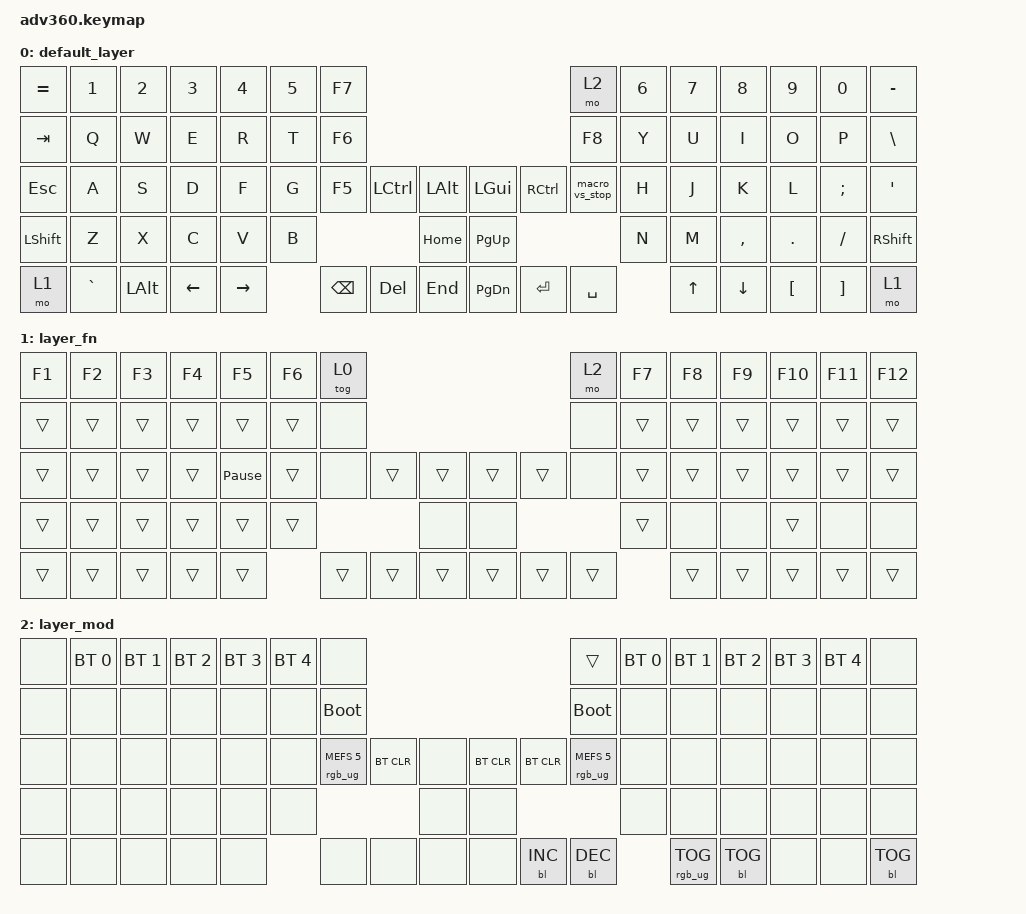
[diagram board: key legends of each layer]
/*
 * Copyright (c) 2020 The ZMK Contributors
 *
 * SPDX-License-Identifier: MIT
 */
/* THIS FILE WAS GENERATED!
 *
 * This file was generated automatically. You may or may not want to
 * edit it directly.
 */

#include <behaviors.dtsi>
#include <dt-bindings/zmk/backlight.h>
#include <dt-bindings/zmk/bt.h>
#include <dt-bindings/zmk/keys.h>
#include <dt-bindings/zmk/rgb.h>

/ {
    behaviors {
        #include "macros.dtsi"
    #include "version.dtsi"

        hm: homerow_mods {
            compatible = "zmk,behavior-hold-tap";
            label = "HOMEROW_MODS";
            #binding-cells = <2>;
            tapping-term-ms = <200>;
            quick_tap_ms = <175>;
            flavor = "tap-preferred";
            bindings = <&kp>, <&kp>;
        };
    };

    keymap {
        compatible = "zmk,keymap";

        default_layer {
            bindings = <
&kp EQUAL  &kp N1     &kp N2        &kp N3          &kp N4           &kp N5  &kp F7                                                             &mo 2           &kp N6  &kp N7        &kp N8          &kp N9            &kp N0             &kp MINUS
&kp TAB    &kp Q      &kp W         &kp E           &kp R            &kp T   &kp F6                                                             &kp F8          &kp Y   &kp U         &kp I           &kp O             &kp P              &kp BSLH
&kp ESC    &kp A      &kp S         &kp D           &kp F            &kp G   &kp F5         &kp LCTRL   &kp LALT      &kp LGUI       &kp RCTRL  &macro_vs_stop  &kp H   &kp J         &kp K           &kp L             &kp SEMI           &kp SQT
&kp LSHFT  &kp Z      &kp X         &kp C           &kp V            &kp B                              &kp HOME      &kp PAGE_UP                               &kp N   &kp M         &kp COMMA       &kp PERIOD        &kp SLASH          &kp RIGHT_SHIFT
&mo 1      &kp GRAVE  &kp LEFT_ALT  &kp LEFT_ARROW  &kp RIGHT_ARROW          &kp BACKSPACE  &kp DELETE  &kp END       &kp PAGE_DOWN  &kp ENTER  &kp SPACE               &kp UP_ARROW  &kp DOWN_ARROW  &kp LEFT_BRACKET  &kp RIGHT_BRACKET  &mo 1
            >;
        };

        layer_fn {
            bindings = <
&kp F1  &kp F2  &kp F3  &kp F4  &kp F5           &kp F6  &tog 0                                      &mo 2   &kp F7  &kp F8  &kp F9  &kp F10  &kp F11  &kp F12
&trans  &trans  &trans  &trans  &trans           &trans  &none                                       &none   &trans  &trans  &trans  &trans   &trans   &trans
&trans  &trans  &trans  &trans  &kp PAUSE_BREAK  &trans  &none   &trans  &trans      &trans  &trans  &none   &trans  &trans  &trans  &trans   &trans   &trans
&trans  &trans  &trans  &trans  &trans           &trans                  &none       &none                   &trans  &none   &none   &trans   &none    &none
&trans  &trans  &trans  &trans  &trans                   &trans  &trans  &trans      &trans  &trans  &trans          &trans  &trans  &trans   &trans   &trans
            >;
        };

        layer_mod {
            bindings = <
&none  &bt BT_SEL 0  &bt BT_SEL 1  &bt BT_SEL 2  &bt BT_SEL 3  &bt BT_SEL 4  &none                                                                  &trans                  &bt BT_SEL 0  &bt BT_SEL 1     &bt BT_SEL 2  &bt BT_SEL 3  &bt BT_SEL 4  &none
&none  &none         &none         &none         &none         &none         &bootloader                                                            &bootloader             &none         &none            &none         &none         &none         &none
&none  &none         &none         &none         &none         &none         &rgb_ug RGB_MEFS_CMD 5  &bt BT_CLR  &none      &bt BT_CLR  &bt BT_CLR  &rgb_ug RGB_MEFS_CMD 5  &none         &none            &none         &none         &none         &none
&none  &none         &none         &none         &none         &none                                             &none      &none                                           &none         &none            &none         &none         &none         &none
&none  &none         &none         &none         &none                       &none                   &none       &none      &none       &bl BL_INC  &bl BL_DEC                            &rgb_ug RGB_TOG  &bl BL_TOG    &none         &none         &bl BL_TOG
            >;
        };
    };
};
